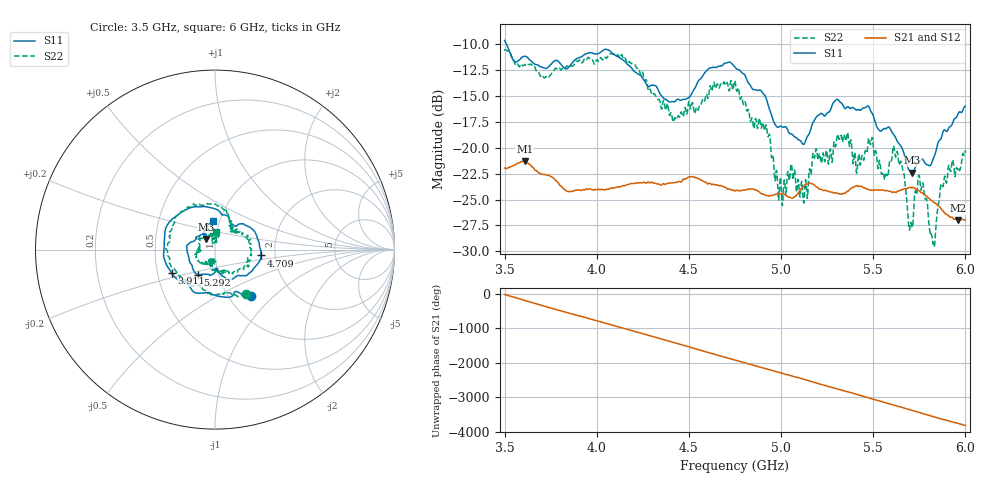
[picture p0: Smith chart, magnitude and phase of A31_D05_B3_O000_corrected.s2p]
! Created with skrf 1.9.0 (http://scikit-rf.org).
# Hz S RI R 50.0
!freq ReS11 ImS11 ReS21 ImS21 ReS12 ImS12 ReS22 ImS22
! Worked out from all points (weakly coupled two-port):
!   1601 points, 3.5 GHz to 6 GHz, reference 50 ohm
!   highest |S21| = -21.30 dB at 3.609 GHz (marker M1); lowest = -27.0 dB at 5.959 GHz (marker M2)
!   lowest |S11| = -22.4 dB at 5.713 GHz (marker M3), VSWR 1.16, Z = 45.1 + j5.37 ohm
!   |S11| at or under -10 dB: 3.511 GHz to end of sweep
!   |S22| runs from -29.5 to -10.5 dB; largest |S21 - S12| = 0.00085
!   S11 on the Smith chart (normalised r, x): 3.5 GHz: 1.26, -0.74; 3.911 GHz: 0.60, -0.17; 4.709 GHz: 1.68, -0.12; 5.292 GHz: 0.80, -0.23; 6 GHz: 0.93, +0.30
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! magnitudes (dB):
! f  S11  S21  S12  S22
! 3.5 GHz  -9.6  -22.0  -21.9  -10.5
! 3.609 GHz  -11.1  -21.3  -21.3  -11.9
! 3.911 GHz  -11.2  -24.1  -24.1  -11.6
! 3.917 GHz  -11.2  -24.1  -24.1  -11.8
! 4.142 GHz  -11.5  -23.7  -23.7  -11.3
! 4.334 GHz  -14.4  -23.5  -23.4  -15.3
! 4.423 GHz  -15.5  -23.4  -23.4  -17.1
! 4.709 GHz  -11.8  -24.0  -23.9  -13.7
! 4.75 GHz  -12.2  -24.2  -24.1  -13.6
! 4.928 GHz  -15.8  -24.6  -24.6  -18.9
! 4.997 GHz  -17.9  -24.4  -24.4  -22.8
! 5.133 GHz  -19.3  -23.6  -23.5  -23.1
! 5.167 GHz  -17.8  -23.5  -23.4  -21.6
! 5.292 GHz  -15.5  -24.3  -24.3  -19.7
! 5.584 GHz  -18.0  -24.2  -24.2  -22.1
! 5.62 GHz  -19.0  -24.3  -24.3  -20.9
! 5.713 GHz  -22.4  -23.8  -23.8  -27.7
! 5.756 GHz  -21.2  -24.3  -24.2  -23.9
! 5.827 GHz  -21.0  -25.2  -25.2  -29.2
! 5.877 GHz  -18.6  -26.1  -26.0  -23.7
! 5.959 GHz  -16.8  -27.0  -26.9  -22.1
! 6 GHz  -16.0  -27.0  -26.9  -20.2
